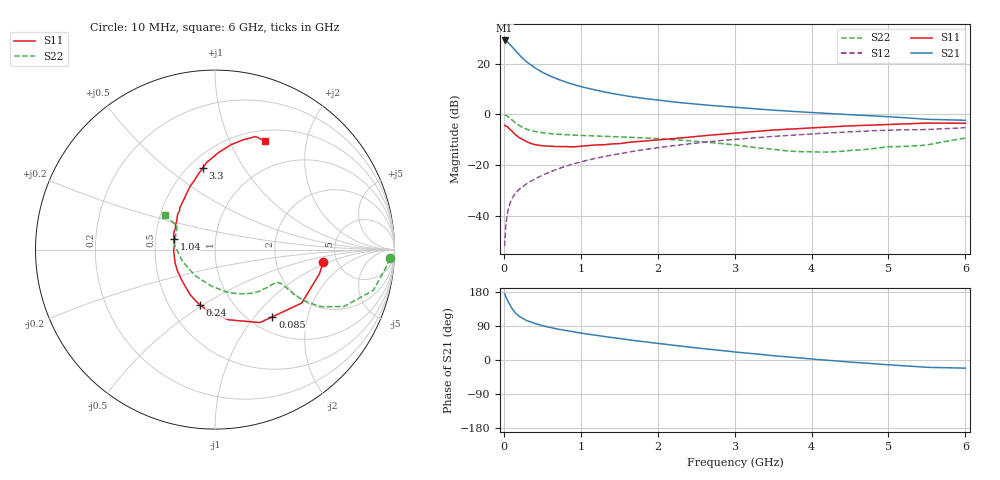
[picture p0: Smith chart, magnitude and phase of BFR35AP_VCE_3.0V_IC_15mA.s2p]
! Infineon Technologies  Discrete & RF Semiconductors
! BFR35AP
! VCE =  3.0 V,  IC =  15 mA
! Common Emitter S-Parameters:  Nov 2015
# GHz  S  MA  R  50
!  f  S11  S21  S12  S22
! GHz  MAG  ANG  MAG  ANG  MAG  ANG  MAG  ANG
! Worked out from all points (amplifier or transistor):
!   210 points, 10 MHz to 6 GHz, reference 50 ohm
!   highest |S21| = 29.1 dB at 10 MHz (marker M1)
!   |S21| within 3 dB of that: start of sweep to 121.6 MHz
!   unconditionally stable (mu >= 1): 455.7 MHz to 3.323 GHz
!   at 185 MHz: K = 0.67, MSG = 27.0 dB, |S12| = -30.1 dB
!   at 1.52 GHz: K = 1.11, MAG = 9.5 dB, |S12| = -15.5 dB
!   at 6 GHz: K = 0.96, MSG = 1.5 dB, |S12| = -5.3 dB
!   S11 on the Smith chart (normalised r, x): 10 MHz: 3.89, -0.86; 85 MHz: 1.26, -1.24; 240 MHz: 0.71, -0.49; 1.04 GHz: 0.62, +0.08; 3.3 GHz: 0.58, +0.68; 6 GHz: 0.63, +1.37
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0.01  0.607 -6.6  28.52 174.8  0.0025 88.3  0.9751 -2.9
0.02  0.5976 -13.0  28.14 169.6  0.0049 86.6  0.9577 -6.0
0.05  0.5675 -31.7  26.64 155.8  0.012 75.4  0.9107 -14.4
0.085  0.4923 -49.5  23.21 143.6  0.0182 69.9  0.8204 -20.7
0.1  0.4774 -58.4  22.12 137.4  0.0209 68.6  0.7852 -23.8
0.15  0.398 -79.2  17.96 123.9  0.0277 65.3  0.6742 -28.2
0.2  0.3472 -95.4  14.81 115.2  0.0329 64.5  0.596 -29.6
0.24  0.319 -105.1  12.87 110.1  0.0369 64.1  0.5522 -29.8
0.3  0.2866 -119.0  10.67 103.7  0.043 65.3  0.5049 -29.5
0.4  0.2523 -137.0  8.294 96.5  0.0525 66.6  0.4578 -28.3
0.5  0.2401 -150.7  6.716 90.5  0.0624 67.5  0.4298 -27.4
0.7  0.2302 -169.5  4.922 81.5  0.0829 67.9  0.4037 -27.4
0.9  0.2268 173.7  3.864 74.3  0.1045 67.3  0.3878 -28.3
1.02  0.2357 167.0  3.453 70.5  0.1169 66.7  0.3816 -29.5
1.04  0.237 165.9  3.396 70.0  0.119 66.6  0.3805 -29.8
1.4  0.2608 147.5  2.577 59.4  0.1562 63.7  0.3639 -34.7
2.02  0.3128 126.6  1.878 43.4  0.2207 57.4  0.3288 -46.1
3.1  0.4357 101.7  1.332 19.4  0.3286 43.8  0.2375 -77.0
3.3  0.4612 98.4  1.265 15.6  0.3469 41.1  0.2178 -85.7
4.1  0.5494 86.6  1.059 1.0  0.4174 30.7  0.1797 -134.3
5.1  0.6356 74.9  0.876 -13.9  0.4881 16.6  0.2297 167.6
6  0.6647 65.1  0.76 -21.5  0.5428 6.4  0.338 145.5
